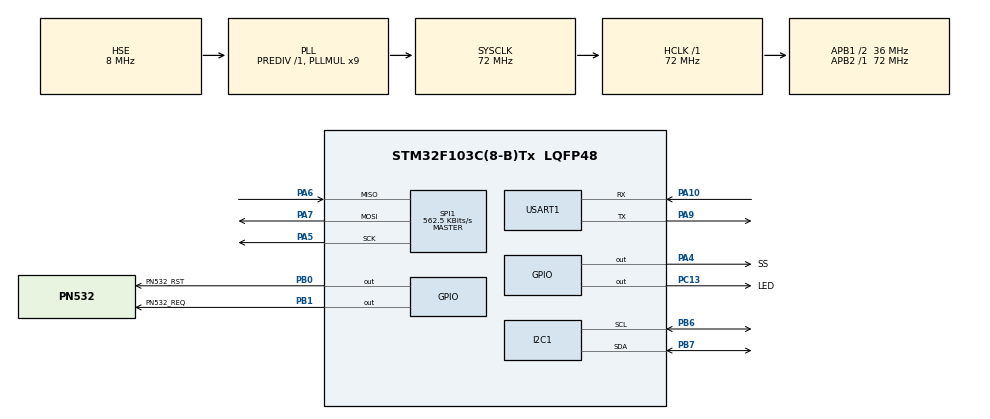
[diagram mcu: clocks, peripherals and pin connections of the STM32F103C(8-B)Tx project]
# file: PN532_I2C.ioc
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Mcu.Family=STM32F1
Mcu.Name=STM32F103C(8-B)Tx
Mcu.Package=LQFP48
NVIC.I2C1_ER_IRQn=true\:0\:0\:false\:false\:true\:true\:true\:true
NVIC.I2C1_EV_IRQn=true\:0\:0\:false\:false\:true\:true\:true\:true
NVIC.PriorityGroup=NVIC_PRIORITYGROUP_4
NVIC.SPI1_IRQn=true\:0\:0\:false\:false\:true\:true\:true\:true
NVIC.USART1_IRQn=true\:0\:0\:false\:false\:true\:true\:true\:true
PA10.Mode=Asynchronous
PA10.Signal=USART1_RX
PA13.Mode=Serial_Wire
PA13.Signal=SYS_JTMS-SWDIO
PA14.Mode=Serial_Wire
PA14.Signal=SYS_JTCK-SWCLK
PA4.GPIO_Label=SS
PA4.GPIO_PuPd=GPIO_PULLUP
PA4.GPIO_Speed=GPIO_SPEED_FREQ_HIGH
PA4.PinState=GPIO_PIN_RESET
PA4.Signal=GPIO_Output
PA5.Mode=Full_Duplex_Master
PA5.Signal=SPI1_SCK
PA6.Mode=Full_Duplex_Master
PA6.Signal=SPI1_MISO
PA7.Mode=Full_Duplex_Master
PA7.Signal=SPI1_MOSI
PA9.Mode=Asynchronous
PA9.Signal=USART1_TX
PB0.GPIO_Label=PN532_RST
PB0.GPIO_PuPd=GPIO_PULLUP
PB0.GPIO_Speed=GPIO_SPEED_FREQ_HIGH
PB0.Signal=GPIO_Output
PB1.GPIO_Label=PN532_REQ
PB1.GPIO_PuPd=GPIO_PULLUP
PB1.GPIO_Speed=GPIO_SPEED_FREQ_HIGH
PB1.Signal=GPIO_Output
PB6.Mode=I2C
PB6.Signal=I2C1_SCL
PB7.Mode=I2C
PB7.Signal=I2C1_SDA
PC13-TAMPER-RTC.GPIO_Label=LED
PC13-TAMPER-RTC.GPIO_Speed=GPIO_SPEED_FREQ_HIGH
PC13-TAMPER-RTC.PinState=GPIO_PIN_SET
PC13-TAMPER-RTC.Signal=GPIO_Output
PD0-OSC_IN.Mode=HSE-External-Oscillator
PD0-OSC_IN.Signal=RCC_OSC_IN
PD1-OSC_OUT.Mode=HSE-External-Oscillator
PD1-OSC_OUT.Signal=RCC_OSC_OUT
ProjectManager.HeapSize=0x200
ProjectManager.StackSize=0x400
ProjectManager.TargetToolchain=STM32CubeIDE
RCC.AHBFreq_Value=72000000
RCC.APB1CLKDivider=RCC_HCLK_DIV2
RCC.APB1Freq_Value=36000000
RCC.APB1TimFreq_Value=72000000
RCC.APB2Freq_Value=72000000
RCC.APB2TimFreq_Value=72000000
RCC.HCLKFreq_Value=72000000
RCC.PLLMUL=RCC_PLL_MUL9
RCC.PLLSourceVirtual=RCC_PLLSOURCE_HSE
RCC.SYSCLKFreq_VALUE=72000000
RCC.SYSCLKSource=RCC_SYSCLKSOURCE_PLLCLK
RCC.USBFreq_Value=72000000
SPI1.BaudRatePrescaler=SPI_BAUDRATEPRESCALER_128
SPI1.CalculateBaudRate=562.5 KBits/s
SPI1.Direction=SPI_DIRECTION_2LINES
SPI1.FirstBit=SPI_FIRSTBIT_LSB
SPI1.Mode=SPI_MODE_MASTER
SPI1.VirtualType=VM_MASTER
USART1.VirtualMode=VM_ASYNC
board=custom

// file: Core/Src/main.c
/* USER CODE BEGIN Header */
/**
  ******************************************************************************
  * @file           : main.c
  * @brief          : Main program body
  ******************************************************************************
  * @attention
  *
  * Copyright (c) 2025 STMicroelectronics.
  * All rights reserved.
  *
  * This software is licensed under terms that can be found in the LICENSE file
  * in the root directory of this software component.
  * If no LICENSE file comes with this software, it is provided AS-IS.
  *
  ******************************************************************************
  */
/* USER CODE END Header */
#include "main.h"

/* USER CODE BEGIN Includes */
#include "pn532_stm32f1.h"
#include "pn532.h"
#include "stdio.h"
#include "string.h"
/* USER CODE END Includes */

/* USER CODE BEGIN PD */
  uint8_t buff[255];
  uint8_t uid[MIFARE_UID_MAX_LENGTH];
  int32_t uid_len = 0;
/* USER CODE END PD */

I2C_HandleTypeDef hi2c1;

SPI_HandleTypeDef hspi1;

UART_HandleTypeDef huart1;

/* USER CODE BEGIN PV */
PN532 pn532;
/* USER CODE END PV */

void SystemClock_Config(void);
static void MX_GPIO_Init(void);
static void MX_I2C1_Init(void);
static void MX_SPI1_Init(void);
static void MX_USART1_UART_Init(void);

int main(void)
{

  /* MCU Configuration--------------------------------------------------------*/

  /* Reset of all peripherals, Initializes the Flash interface and the Systick. */
  HAL_Init();

  /* Configure the system clock */
  SystemClock_Config();

  /* Initialize all configured peripherals */
  MX_GPIO_Init();
  MX_I2C1_Init();
  MX_SPI1_Init();
  MX_USART1_UART_Init();
  /* USER CODE BEGIN 2 */
   printf("Hello!\r\n");

   PN532_SPI_Init(&pn532);
   PN532_I2C_Init(&pn532);
   PN532_GetFirmwareVersion(&pn532, buff);
   if (PN532_GetFirmwareVersion(&pn532, buff) == PN532_STATUS_OK) {
     printf("Found PN532 with firmware version: %d.%d\r\n", buff[1], buff[2]);
   } else {
     return -1;
   }
   PN532_SamConfiguration(&pn532);
   printf("Waiting for RFID/NFC card...\r\n");
  /* USER CODE END 2 */

  /* Infinite loop */
  while (1)
  {

    /* USER CODE BEGIN 3 */
	  // Check if a card is available to read
	     uid_len = PN532_ReadPassiveTarget(&pn532, uid, PN532_MIFARE_ISO14443A, 1000);
	     if (uid_len == PN532_STATUS_ERROR) {
	       printf(".");
	     } else {
	       printf("Found card with UID: ");
	       for (uint8_t i = 0; i < uid_len; i++) {
	         printf("%02x ", uid[i]);
	       }
	       printf("\r\n");
	     }

  }
  /* USER CODE END 3 */
}

void SystemClock_Config(void)
{
  RCC_OscInitTypeDef RCC_OscInitStruct = {0};
  RCC_ClkInitTypeDef RCC_ClkInitStruct = {0};

  /** Initializes the RCC Oscillators according to the specified parameters
  * in the RCC_OscInitTypeDef structure.
  */
  RCC_OscInitStruct.OscillatorType = RCC_OSCILLATORTYPE_HSE;
  RCC_OscInitStruct.HSEState = RCC_HSE_ON;
  RCC_OscInitStruct.HSEPredivValue = RCC_HSE_PREDIV_DIV1;
  RCC_OscInitStruct.HSIState = RCC_HSI_ON;
  RCC_OscInitStruct.PLL.PLLState = RCC_PLL_ON;
  RCC_OscInitStruct.PLL.PLLSource = RCC_PLLSOURCE_HSE;
  RCC_OscInitStruct.PLL.PLLMUL = RCC_PLL_MUL9;
  if (HAL_RCC_OscConfig(&RCC_OscInitStruct) != HAL_OK)
  {
    Error_Handler();
  }

  /** Initializes the CPU, AHB and APB buses clocks
  */
  RCC_ClkInitStruct.ClockType = RCC_CLOCKTYPE_HCLK|RCC_CLOCKTYPE_SYSCLK
                              |RCC_CLOCKTYPE_PCLK1|RCC_CLOCKTYPE_PCLK2;
  RCC_ClkInitStruct.SYSCLKSource = RCC_SYSCLKSOURCE_PLLCLK;
  RCC_ClkInitStruct.AHBCLKDivider = RCC_SYSCLK_DIV1;
  RCC_ClkInitStruct.APB1CLKDivider = RCC_HCLK_DIV2;
  RCC_ClkInitStruct.APB2CLKDivider = RCC_HCLK_DIV1;

  if (HAL_RCC_ClockConfig(&RCC_ClkInitStruct, FLASH_LATENCY_2) != HAL_OK)
  {
    Error_Handler();
  }
}

static void MX_I2C1_Init(void)
{

  hi2c1.Instance = I2C1;
  hi2c1.Init.ClockSpeed = 100000;
  hi2c1.Init.DutyCycle = I2C_DUTYCYCLE_2;
  hi2c1.Init.OwnAddress1 = 0;
  hi2c1.Init.AddressingMode = I2C_ADDRESSINGMODE_7BIT;
  hi2c1.Init.DualAddressMode = I2C_DUALADDRESS_DISABLE;
  hi2c1.Init.OwnAddress2 = 0;
  hi2c1.Init.GeneralCallMode = I2C_GENERALCALL_DISABLE;
  hi2c1.Init.NoStretchMode = I2C_NOSTRETCH_DISABLE;
  if (HAL_I2C_Init(&hi2c1) != HAL_OK)
  {
    Error_Handler();
  }

}

static void MX_SPI1_Init(void)
{

  /* SPI1 parameter configuration*/
  hspi1.Instance = SPI1;
  hspi1.Init.Mode = SPI_MODE_MASTER;
  hspi1.Init.Direction = SPI_DIRECTION_2LINES;
  hspi1.Init.DataSize = SPI_DATASIZE_8BIT;
  hspi1.Init.CLKPolarity = SPI_POLARITY_LOW;
  hspi1.Init.CLKPhase = SPI_PHASE_1EDGE;
  hspi1.Init.NSS = SPI_NSS_SOFT;
  hspi1.Init.BaudRatePrescaler = SPI_BAUDRATEPRESCALER_128;
  hspi1.Init.FirstBit = SPI_FIRSTBIT_LSB;
  hspi1.Init.TIMode = SPI_TIMODE_DISABLE;
  hspi1.Init.CRCCalculation = SPI_CRCCALCULATION_DISABLE;
  hspi1.Init.CRCPolynomial = 10;
  if (HAL_SPI_Init(&hspi1) != HAL_OK)
  {
    Error_Handler();
  }

}

static void MX_USART1_UART_Init(void)
{

  huart1.Instance = USART1;
  huart1.Init.BaudRate = 115200;
  huart1.Init.WordLength = UART_WORDLENGTH_8B;
  huart1.Init.StopBits = UART_STOPBITS_1;
  huart1.Init.Parity = UART_PARITY_NONE;
  huart1.Init.Mode = UART_MODE_TX_RX;
  huart1.Init.HwFlowCtl = UART_HWCONTROL_NONE;
  huart1.Init.OverSampling = UART_OVERSAMPLING_16;
  if (HAL_UART_Init(&huart1) != HAL_OK)
  {
    Error_Handler();
  }

}

static void MX_GPIO_Init(void)
{
  GPIO_InitTypeDef GPIO_InitStruct = {0};

  /* GPIO Ports Clock Enable */
  __HAL_RCC_GPIOC_CLK_ENABLE();
  __HAL_RCC_GPIOD_CLK_ENABLE();
  __HAL_RCC_GPIOA_CLK_ENABLE();
  __HAL_RCC_GPIOB_CLK_ENABLE();

  /*Configure GPIO pin Output Level */
  HAL_GPIO_WritePin(LED_GPIO_Port, LED_Pin, GPIO_PIN_SET);

  /*Configure GPIO pin Output Level */
  HAL_GPIO_WritePin(SS_GPIO_Port, SS_Pin, GPIO_PIN_RESET);

  /*Configure GPIO pin Output Level */
  HAL_GPIO_WritePin(GPIOB, PN532_RST_Pin|PN532_REQ_Pin, GPIO_PIN_RESET);

  /*Configure GPIO pin : LED_Pin */
  GPIO_InitStruct.Pin = LED_Pin;
  GPIO_InitStruct.Mode = GPIO_MODE_OUTPUT_PP;
  GPIO_InitStruct.Pull = GPIO_NOPULL;
  GPIO_InitStruct.Speed = GPIO_SPEED_FREQ_HIGH;
  HAL_GPIO_Init(LED_GPIO_Port, &GPIO_InitStruct);

  /*Configure GPIO pin : SS_Pin */
  GPIO_InitStruct.Pin = SS_Pin;
  GPIO_InitStruct.Mode = GPIO_MODE_OUTPUT_PP;
  GPIO_InitStruct.Pull = GPIO_PULLUP;
  GPIO_InitStruct.Speed = GPIO_SPEED_FREQ_HIGH;
  HAL_GPIO_Init(SS_GPIO_Port, &GPIO_InitStruct);

  /*Configure GPIO pins : PN532_RST_Pin PN532_REQ_Pin */
  GPIO_InitStruct.Pin = PN532_RST_Pin|PN532_REQ_Pin;
  GPIO_InitStruct.Mode = GPIO_MODE_OUTPUT_PP;
  GPIO_InitStruct.Pull = GPIO_PULLUP;
  GPIO_InitStruct.Speed = GPIO_SPEED_FREQ_HIGH;
  HAL_GPIO_Init(GPIOB, &GPIO_InitStruct);

}

/* USER CODE BEGIN 4 */
#ifdef __GNUC__
  /* With GCC/RAISONANCE, small printf (option LD Linker->Libraries->Small printf
     set to 'Yes') calls __io_putchar() */
  #define PUTCHAR_PROTOTYPE int __io_putchar(int ch)
#else
  #define PUTCHAR_PROTOTYPE int fputc(int ch, FILE *f)
#endif /* __GNUC__ */
/**
  * @brief  Retargets the C library printf function to the USART.
  * @param  None
  * @retval None
  */
PUTCHAR_PROTOTYPE
{
  /* Place your implementation of fputc here */
  /* e.g. write a character to the EVAL_COM1 and Loop until the end of transmission */
  HAL_UART_Transmit(&huart1, (uint8_t *)&ch, 1, 0xFFFF);

  return ch;
}

/* USER CODE END 4 */

void Error_Handler(void)
{
  __disable_irq();
  while (1)
  {
  }
}
